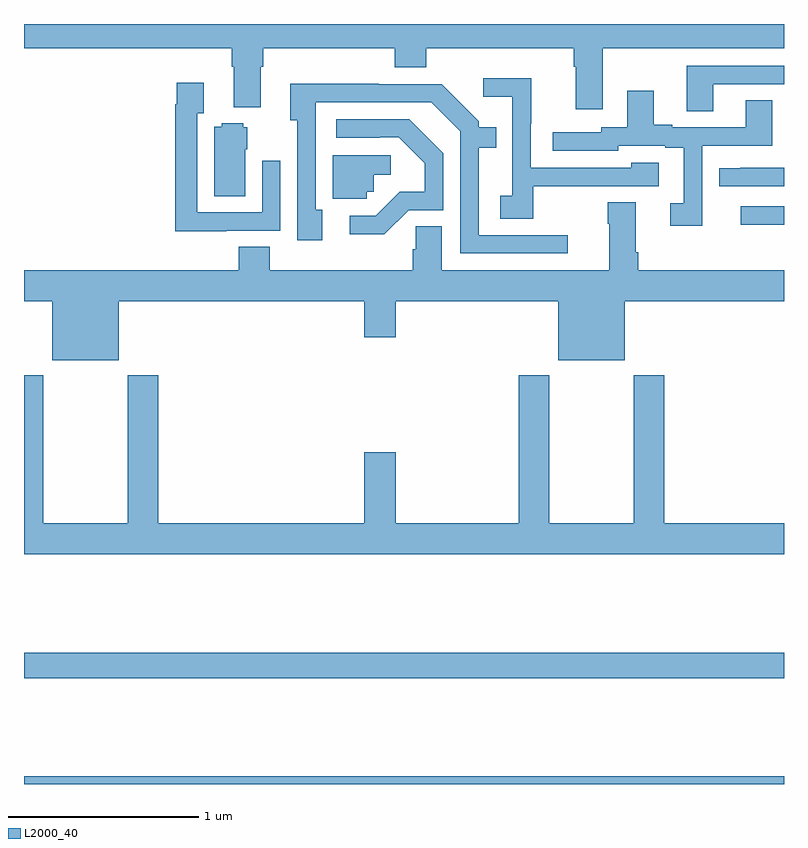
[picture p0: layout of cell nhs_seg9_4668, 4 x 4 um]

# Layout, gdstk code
import gdstk
lib = gdstk.Library(unit=1e-6, precision=1e-09)
def R(c, l, rs):  # rectangles x0, y0, x1, y1
    for r in rs: c.add(gdstk.rectangle(r[:2], r[2:], *l))
def P(c, l, *ps):  # polygons
    for p in ps: c.add(gdstk.Polygon(p, *l))
L2000_40 = (2000, 40)

nhs_seg9_4668 = lib.new_cell('nhs_seg9_4668')
R(nhs_seg9_4668, L2000_40, [(379,1240.5,383,1240.54), (379,1241.056,383,1241.192), (382.773,1243.444,383,1243.542)])
P(nhs_seg9_4668, L2000_40, [(382.045,1244.372),(383,1244.372),(383,1244.5),(379,1244.5),(379,1244.372),(380.093,1244.372),(380.093,1244.276),(380.105,1244.276),(380.105,1244.063),(380.245,1244.063),(380.245,1244.276),(380.258,1244.276),(380.258,1244.372),(380.951,1244.372),(380.951,1244.273),(381.116,1244.273),(381.116,1244.372),(381.893,1244.372),(381.893,1244.276),(381.905,1244.276),(381.905,1244.052),(382.045,1244.052)],
  [(382.627,1244.184),(383,1244.184),(383,1244.28),(382.487,1244.28),(382.487,1244.041),(382.627,1244.041)],
  [(381.679,1243.645),(381.983,1243.645),(381.983,1243.647),(382.342,1243.647),(382.342,1243.771),(382.197,1243.771),(382.197,1243.743),(381.666,1243.743),(381.666,1243.976),(381.669,1243.976),(381.669,1244.215),(381.417,1244.215),(381.417,1244.117),(381.57,1244.117),(381.57,1243.596),(381.507,1243.596),(381.507,1243.474),(381.679,1243.474)],
  [(380.065,1243.413),(380.349,1243.413),(380.349,1243.78),(380.253,1243.78),(380.253,1243.509),(379.911,1243.509),(379.911,1244.03),(379.945,1244.03),(379.945,1244.191),(379.803,1244.191),(379.803,1244.078),(379.795,1244.078),(379.795,1243.409),(380.065,1243.409)],
  [(381.862,1243.389),(381.394,1243.389),(381.394,1243.848),(381.485,1243.848),(381.485,1243.957),(381.393,1243.957),(381.393,1243.989),(381.198,1244.184),(380.867,1244.184),(380.867,1244.186),(380.402,1244.186),(380.402,1243.994),(380.439,1243.994),(380.439,1243.362),(380.569,1243.362),(380.569,1243.522),(380.535,1243.522),(380.535,1244.088),(381.144,1244.088),(381.297,1243.935),(381.297,1243.293),(381.862,1243.293)],
  [(382.569,1243.86),(382.939,1243.86),(382.939,1244.099),(382.799,1244.099),(382.799,1243.956),(382.411,1243.956),(382.411,1243.969),(382.315,1243.969),(382.315,1244.149),(382.175,1244.149),(382.175,1243.956),(382.038,1243.956),(382.038,1243.929),(381.783,1243.929),(381.783,1243.833),(382.128,1243.833),(382.128,1243.86),(382.376,1243.86),(382.376,1243.848),(382.472,1243.848),(382.472,1243.557),(382.401,1243.557),(382.401,1243.437),(382.569,1243.437)],
  [(381.024,1243.521),(381.207,1243.521),(381.207,1243.819),(381.028,1243.998),(380.643,1243.998),(380.643,1243.902),(380.873,1243.902),(380.873,1243.905),(380.973,1243.905),(381.11,1243.768),(381.11,1243.618),(380.977,1243.618),(380.85,1243.491),(380.715,1243.491),(380.715,1243.394),(380.896,1243.394)],
  [(380.164,1243.842),(380.176,1243.842),(380.176,1243.956),(380.154,1243.956),(380.154,1243.978),(380.04,1243.978),(380.04,1243.96),(380,1243.96),(380,1243.594),(380.164,1243.594)],
  [(380.805,1243.617),(380.841,1243.617),(380.841,1243.706),(380.929,1243.706),(380.929,1243.809),(380.624,1243.809),(380.624,1243.581),(380.805,1243.581)],
  [(383,1243.743),(382.771,1243.743),(382.771,1243.742),(382.659,1243.742),(382.659,1243.647),(383,1243.647)],
  [(379.498,1243.04),(380.792,1243.04),(380.792,1242.852),(380.956,1242.852),(380.956,1243.04),(381.812,1243.04),(381.812,1242.731),(382.162,1242.731),(382.162,1243.04),(383,1243.04),(383,1243.204),(382.232,1243.204),(382.232,1243.3),(382.219,1243.3),(382.219,1243.561),(382.072,1243.561),(382.072,1243.448),(382.079,1243.448),(382.079,1243.204),(381.199,1243.204),(381.199,1243.436),(381.061,1243.436),(381.061,1243.314),(381.047,1243.314),(381.047,1243.204),(380.294,1243.204),(380.294,1243.328),(380.129,1243.328),(380.129,1243.204),(379,1243.204),(379,1243.04),(379.148,1243.04),(379.148,1242.731),(379.498,1242.731)],
  [(383,1241.872),(382.37,1241.872),(382.37,1242.652),(382.21,1242.652),(382.21,1241.872),(381.765,1241.872),(381.765,1242.652),(381.605,1242.652),(381.605,1241.872),(380.956,1241.872),(380.956,1242.247),(380.792,1242.247),(380.792,1241.872),(379.706,1241.872),(379.706,1242.652),(379.546,1242.652),(379.546,1241.872),(379.101,1241.872),(379.101,1242.652),(379,1242.652),(379,1241.708),(383,1241.708)])

lib.write_gds('nhs_seg9_4668.gds')
